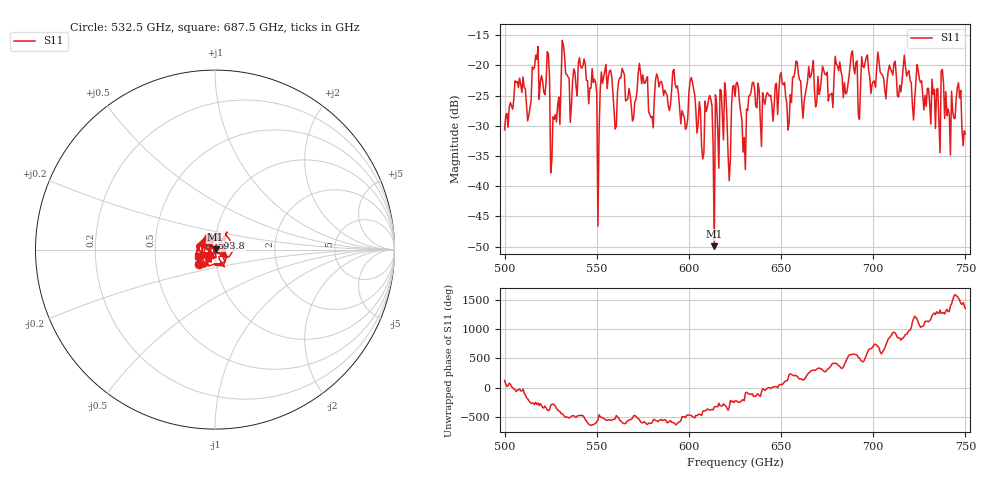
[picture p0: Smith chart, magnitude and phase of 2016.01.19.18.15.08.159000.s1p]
!Created with skrf (http://scikit-rf.org).
# GHz S RI R 50.0
!freq ReS11 ImS11
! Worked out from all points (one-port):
!   401 points, 500 GHz to 750 GHz, reference 50 ohm
!   lowest |S11| = -49.9 dB at 613.8 GHz (marker M1), VSWR 1.01, Z = 50.3 + j0.144 ohm
!   |S11| at or under -10 dB: start of sweep to end of sweep
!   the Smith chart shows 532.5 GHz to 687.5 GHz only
!   S11 on the Smith chart (normalised r, x): 532.5 GHz: 0.83, -0.14; 593.8 GHz: 0.96, +0.13; 687.5 GHz: 0.83, -0.06
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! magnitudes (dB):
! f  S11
! 500 GHz  -30.7
! 506.9 GHz  -22.6
! 513.1 GHz  -28.3
! 516.9 GHz  -18.3
! 523.1 GHz  -17.7
! 526.2 GHz  -28.5
! 531.2 GHz  -15.9
! 532.5 GHz  -18.3
! 548.8 GHz  -22.3
! 550.6 GHz  -46.6
! 553.8 GHz  -21.9
! 560 GHz  -30.5
! 562.5 GHz  -22.1
! 593.8 GHz  -23.4
! 606.9 GHz  -33.4
! 611.2 GHz  -25.0
! 613.8 GHz  -49.9
! 618.1 GHz  -28.2
! 621.9 GHz  -39.1
! 625 GHz  -25.2
! 629.4 GHz  -34.4
! 634.4 GHz  -22.9
! 656.2 GHz  -22.0
! 687.5 GHz  -19.9
! 718.8 GHz  -21.2
! 735 GHz  -23.8
! 746.2 GHz  -22.9
! 750 GHz  -31.3
